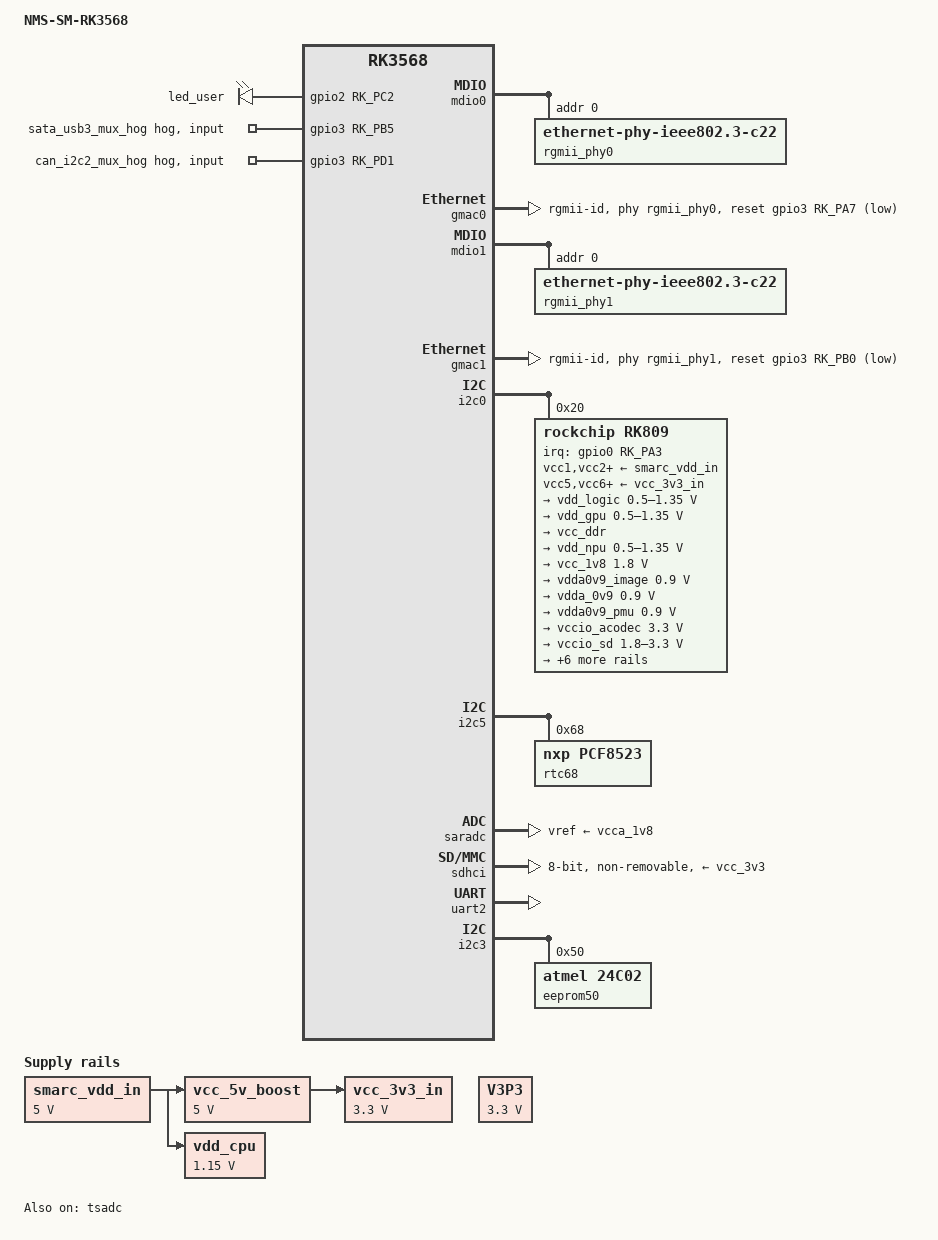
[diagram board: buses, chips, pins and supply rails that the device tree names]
// SPDX-License-Identifier: (GPL-2.0+ OR MIT)

/dts-v1/;
#include <dt-bindings/gpio/gpio.h>
#include <dt-bindings/leds/common.h>
#include <dt-bindings/pinctrl/rockchip.h>
#include <dt-bindings/soc/rockchip,vop2.h>
#include "rk3568.dtsi"
//#include "rockchip/rk3568.dtsi"

/ {
	model = "NMS-SM-RK3568";
	compatible = "inmys,rk3568-smarc-som_v2", "inmys,rk3568-smarc-som", "rockchip,rk3568";

	aliases {
		ethernet0 = &gmac0; /*SMARC: GBE0*/
		ethernet1 = &gmac1; /*SMARC: GBE1*/
		mmc0 = &sdhci; /*emmc*/
		mmc1 = &sdmmc0; /*sdcard*/
		rtc0 = &rtc68;
		rtc1 = &rk809;
		can0 = &can0; /*SMARC: can0*/
		can1 = &can2; /*SMARC: can1*/
	};

	chosen: chosen {
		stdout-path = "serial2:1500000n8";
	};

	leds {
		compatible = "gpio-leds";

		led_user: led_user {
			gpios = <&gpio2 RK_PC2 GPIO_ACTIVE_HIGH>;
			linux,default-trigger = "heartbeat";
		};
		
	};

	smarc_vdd_in: smarc-vdd-in {
		/* 3.0...5.25V main power input for som(from mother board) */
		compatible = "regulator-fixed";
		regulator-name = "SMARC_VDD_IN";
		regulator-always-on;
		regulator-boot-on;
		regulator-min-microvolt = <5000000>;
		regulator-max-microvolt = <5000000>;
	};
	V3P3: SMARC_CARRIER_PWR_ON {
		/* enable 3v3 main power on mother board, by pmic pin "EXT_EN" */
		/* CARRIER_PWR_ON->S154->CARRIER_PWR_ON */
		compatible = "regulator-fixed";
		regulator-name = "SMARC_CARRIER_PWR_ON";
		regulator-min-microvolt = <3300000>;
		regulator-max-microvolt = <3300000>;
		regulator-boot-on;
	};
	vcc_5v_boost: vcc-5v-boost {
		/* boost from SMARC VDD_IN( 3.0V ... 5.25V) to 5V */
		/* variants: 0R or FAN48623UC50X */
		compatible = "regulator-fixed";
		regulator-name = "VCC_5V_BOOST";
		regulator-always-on;
		regulator-boot-on;
		regulator-min-microvolt = <5000000>;
		regulator-max-microvolt = <5000000>;
		vin-supply = <&smarc_vdd_in>;
	};
	vcc_3v3_in: vcc-3v3-in {
		/* 3v3 input for pmic (for LDOs)*/
		/* NCP1597BMNTWG (5V->3v3) on som*/
		compatible = "regulator-fixed";
		regulator-name = "VCC_3V3_IN";
		regulator-always-on;
		regulator-boot-on;
		regulator-min-microvolt = <3300000>;
		regulator-max-microvolt = <3300000>;
		vin-supply = <&vcc_5v_boost>;
	};

	vdd_cpu: vdd-cpu {
		/* FAN53200UC35X */
		vin-supply = <&smarc_vdd_in>;
		compatible = "regulator-fixed";
		regulator-name = "vdd_cpu";
		regulator-min-microvolt = <1150000>;
		regulator-max-microvolt = <1150000>;
		regulator-boot-on;
		regulator-always-on;
	};
	
};

&cpu0 {
	cpu-supply = <&vdd_cpu>;
};

&cpu1 {
	cpu-supply = <&vdd_cpu>;
};

&cpu2 {
	cpu-supply = <&vdd_cpu>;
};

&cpu3 {
	cpu-supply = <&vdd_cpu>;
};


&mdio0 {
	rgmii_phy0: phy@0 {
		compatible = "ethernet-phy-ieee802.3-c22";
		reg = <0x0>;
	};
};

&gmac0 {
	phy-mode = "rgmii-id";

	snps,reset-gpio = <&gpio3 RK_PA7 GPIO_ACTIVE_LOW>;
	snps,reset-active-low;
	/* Reset time is 20ms, 100ms for rtl8211f */
	snps,reset-delays-us = <0 20000 100000>;

	clock_in_out = "output";
	assigned-clocks = <&cru SCLK_GMAC0_RX_TX>, <&cru SCLK_GMAC0>;
	assigned-clock-parents = <&cru SCLK_GMAC0_RGMII_SPEED>, <&cru CLK_MAC0_2TOP>;
	assigned-clock-rates = <0>, <125000000>;
	pinctrl-names = "default";
	pinctrl-0 = <&gmac0_miim
		&gmac0_tx_bus2
		&gmac0_rx_bus2
		&gmac0_rgmii_clk
		&gmac0_rgmii_bus>;

	tx_delay = <0x3c>;
	rx_delay = <0x2f>;

	phy-handle = <&rgmii_phy0>;
};

	
&mdio1 {
	rgmii_phy1: ethernet-phy@0 {
		compatible = "ethernet-phy-ieee802.3-c22";
		reg = <0x0>;
#if 0
		reset-assert-us = <20000>;
		reset-deassert-us = <100000>;
		reset-gpios = <&gpio3 RK_PB0 GPIO_ACTIVE_LOW>;
#endif
	};
};

&gmac1 {
	phy-mode = "rgmii-id";
	
	snps,reset-gpio = <&gpio3 RK_PB0 GPIO_ACTIVE_LOW>;
	snps,reset-active-low;
	/* Reset time is 20ms, 100ms for rtl8211f */
	snps,reset-delays-us = <0 20000 100000>;

	clock_in_out = "output";
	assigned-clocks = <&cru SCLK_GMAC1_RX_TX>, <&cru SCLK_GMAC1>;
	assigned-clock-parents = <&cru SCLK_GMAC1_RGMII_SPEED>, <&cru CLK_MAC1_2TOP>;
	assigned-clock-rates = <0>, <125000000>;
	pinctrl-names = "default";
	pinctrl-0 = <&gmac1m1_miim
		&gmac1m1_tx_bus2
		&gmac1m1_rx_bus2
		&gmac1m1_rgmii_clk
		&gmac1m1_rgmii_bus>;
	
	tx_delay = <0x4f>;
	rx_delay = <0x26>;
	
	phy-handle = <&rgmii_phy1>;
};

&gpu {
	mali-supply = <&vdd_gpu>;
};

&hdmi {
	avdd-0v9-supply = <&vdda0v9_image>;
	avdd-1v8-supply = <&vcca1v8_image>;
	pinctrl-0 = <&hdmitx_scl &hdmitx_sda>; // no HDMI CEC pin on SMARC connector (&hdmitxm0_cec)
};

&i2c0 {
	status = "okay";
#if 0
	vdd_cpu: regulator@1c {
		compatible = "tcs,tcs4525";
		reg = <0x1c>;
		fcs,suspend-voltage-selector = <1>;
		regulator-name = "vdd_cpu";
		regulator-always-on;
		regulator-boot-on;
		regulator-min-microvolt = <800000>;
		regulator-max-microvolt = <1150000>;
		regulator-ramp-delay = <2300>;
		vin-supply = <&vcc5v0_sys>;

		regulator-state-mem {
			regulator-off-in-suspend;
		};
	};
#endif

	rk809: pmic@20 {
		compatible = "rockchip,rk809";
		reg = <0x20>;
		interrupt-parent = <&gpio0>;
		interrupts = <RK_PA3 IRQ_TYPE_LEVEL_LOW>;
		assigned-clocks = <&cru I2S1_MCLKOUT_TX>;
		assigned-clock-parents = <&cru CLK_I2S1_8CH_TX>;
		#clock-cells = <1>;
		clock-names = "mclk";
		clocks = <&cru I2S1_MCLKOUT_TX>;
		pinctrl-names = "default";
		pinctrl-0 = <&pmic_int &i2s1m0_mclk>;
		rockchip,system-power-controller;
		#sound-dai-cells = <0>;
		vcc1-supply = <&smarc_vdd_in>;
		vcc2-supply = <&smarc_vdd_in>;
		vcc3-supply = <&smarc_vdd_in>;
		vcc4-supply = <&smarc_vdd_in>;
		vcc5-supply = <&vcc_3v3_in>;
		vcc6-supply = <&vcc_3v3_in>;
		vcc7-supply = <&vcc_3v3_in>;
		vcc8-supply = <&vcc_3v3_in>;
		vcc9-supply = <&vcc_3v3_in>;
		wakeup-source;

		regulators {
			vdd_logic: DCDC_REG1 {
				regulator-name = "vdd_logic";
				regulator-always-on;
				regulator-boot-on;
				regulator-init-microvolt = <900000>;
				regulator-initial-mode = <0x2>;
				regulator-min-microvolt = <500000>;
				regulator-max-microvolt = <1350000>;
				regulator-ramp-delay = <6001>;

				regulator-state-mem {
					regulator-off-in-suspend;
				};
			};

			vdd_gpu: DCDC_REG2 {
				regulator-name = "vdd_gpu";
				regulator-always-on;
				regulator-init-microvolt = <900000>;
				regulator-initial-mode = <0x2>;
				regulator-min-microvolt = <500000>;
				regulator-max-microvolt = <1350000>;
				regulator-ramp-delay = <6001>;

				regulator-state-mem {
					regulator-off-in-suspend;
				};
			};

			vcc_ddr: DCDC_REG3 {
				regulator-name = "vcc_ddr";
				regulator-always-on;
				regulator-boot-on;
				regulator-initial-mode = <0x2>;

				regulator-state-mem {
					regulator-on-in-suspend;
				};
			};

			vdd_npu: DCDC_REG4 {
				regulator-name = "vdd_npu";
				regulator-init-microvolt = <900000>;
				regulator-initial-mode = <0x2>;
				regulator-min-microvolt = <500000>;
				regulator-max-microvolt = <1350000>;
				regulator-ramp-delay = <6001>;

				regulator-state-mem {
					regulator-off-in-suspend;
				};
			};

			vcc_1v8: DCDC_REG5 {
				regulator-name = "vcc_1v8";
				regulator-always-on;
				regulator-boot-on;
				regulator-min-microvolt = <1800000>;
				regulator-max-microvolt = <1800000>;

				regulator-state-mem {
					regulator-on-in-suspend;
				};
			};

			vdda0v9_image: LDO_REG1 {
				regulator-name = "vdda0v9_image";
				regulator-min-microvolt = <900000>;
				regulator-max-microvolt = <900000>;

				regulator-state-mem {
					regulator-off-in-suspend;
				};
			};

			vdda_0v9: LDO_REG2 {
				regulator-name = "vdda_0v9";
				regulator-always-on;
				regulator-boot-on;
				regulator-min-microvolt = <900000>;
				regulator-max-microvolt = <900000>;

				regulator-state-mem {
					regulator-off-in-suspend;
				};
			};

			vdda0v9_pmu: LDO_REG3 {
				regulator-name = "vdda0v9_pmu";
				regulator-always-on;
				regulator-boot-on;
				regulator-min-microvolt = <900000>;
				regulator-max-microvolt = <900000>;

				regulator-state-mem {
					regulator-on-in-suspend;
					regulator-suspend-microvolt = <900000>;
				};
			};

			vccio_acodec: LDO_REG4 {
				regulator-name = "vccio_acodec";
				regulator-always-on;
				regulator-min-microvolt = <3300000>;
				regulator-max-microvolt = <3300000>;

				regulator-state-mem {
					regulator-off-in-suspend;
				};
			};

			vccio_sd: LDO_REG5 {
				regulator-name = "vccio_sd";
				regulator-min-microvolt = <1800000>;
				regulator-max-microvolt = <3300000>;

				regulator-state-mem {
					regulator-off-in-suspend;
				};
			};

			vcc3v3_pmu: LDO_REG6 {
				regulator-name = "vcc3v3_pmu";
				regulator-always-on;
				regulator-boot-on;
				regulator-min-microvolt = <3300000>;
				regulator-max-microvolt = <3300000>;

				regulator-state-mem {
					regulator-on-in-suspend;
					regulator-suspend-microvolt = <3300000>;
				};
			};

			vcca_1v8: LDO_REG7 {
				regulator-name = "vcca_1v8";
				regulator-always-on;
				regulator-boot-on;
				regulator-min-microvolt = <1800000>;
				regulator-max-microvolt = <1800000>;

				regulator-state-mem {
					regulator-off-in-suspend;
				};
			};

			vcca1v8_pmu: LDO_REG8 {
				regulator-name = "vcca1v8_pmu";
				regulator-always-on;
				regulator-boot-on;
				regulator-min-microvolt = <1800000>;
				regulator-max-microvolt = <1800000>;

				regulator-state-mem {
					regulator-on-in-suspend;
					regulator-suspend-microvolt = <1800000>;
				};
			};

			vcca1v8_image: LDO_REG9 {
				regulator-name = "vcca1v8_image";
				regulator-min-microvolt = <1800000>;
				regulator-max-microvolt = <1800000>;

				regulator-state-mem {
					regulator-off-in-suspend;
				};
			};

			vcc_3v3: SWITCH_REG1 {
				regulator-name = "vcc_3v3";
				regulator-always-on;
				regulator-boot-on;

				regulator-state-mem {
					regulator-off-in-suspend;
				};
			};

			vcc3v3_sd: SWITCH_REG2 {
				regulator-name = "vcc3v3_sd";

				regulator-state-mem {
					regulator-off-in-suspend;
				};
			};
		};

		codec {
			mic-in-differential;
		};
	};
};

&i2c5 {
	status = "okay";

	rtc68: pcf8523@68 {
		compatible = "nxp,pcf8523";
		reg = <0x68>;
		quartz-load-femtofarads = <12500>;
		/*rtcint GPIO0_D3*/
	};
};


&i2s1_8ch { /* SMARC pins: S39 - S52*/
	pinctrl-names = "default";
	pinctrl-0 = <&i2s1m0_sclktx &i2s1m0_lrcktx &i2s1m0_sdi0 &i2s1m0_sdo0>;
	rockchip,trcm-sync-tx-only;
	status = "disabled";
};

&pcie2x1 {
	reset-gpios = <&gpio3 RK_PC1 GPIO_ACTIVE_HIGH>;
	vpcie3v3-supply = <&V3P3>;
	status = "disabled";
};


&pcie30phy {
	status = "disabled";
};

&pcie3x2 {
	reset-gpios = <&gpio3 RK_PA1 GPIO_ACTIVE_HIGH>;
	vpcie3v3-supply = <&V3P3>;
	status = "disabled";
};


&pinctrl {
	pmic {
		pmic_int: pmic_int {
			rockchip,pins =
				<0 RK_PA3 RK_FUNC_GPIO &pcfg_pull_up>;
		};
	};
};

&pmu_io_domains {
	pmuio1-supply = <&vcc3v3_pmu>;
	pmuio2-supply = <&vcc_1v8>;
	vccio1-supply = <&vcc_1v8>;
	vccio2-supply = <&vcc_1v8>;
	vccio3-supply = <&vccio_sd>;
	vccio4-supply = <&vcc_1v8>;
	vccio5-supply = <&vcc_3v3>;
	vccio6-supply = <&vcc_1v8>;
	vccio7-supply = <&vcc_1v8>;
	status = "okay";
};

&saradc {
	vref-supply = <&vcca_1v8>;
	status = "okay";
};

/*emmc on som*/
&sdhci {
	bus-width = <8>;
	max-frequency = <160000000>;
	non-removable;
	pinctrl-names = "default";
	pinctrl-0 = <&emmc_bus8 &emmc_clk &emmc_cmd &emmc_datastrobe>;
	vmmc-supply = <&vcc_3v3>;
	vqmmc-supply = <&vcc_1v8>;
	status = "okay";
};

/* has no sdcard in device, but has in evm board: rm? */
&sdmmc0 {
	bus-width = <4>;
	cap-sd-highspeed;
	cd-gpios = <&gpio0 RK_PA4 GPIO_ACTIVE_LOW>;
	disable-wp;
	pinctrl-names = "default";
	pinctrl-0 = <&sdmmc0_bus4 &sdmmc0_clk &sdmmc0_cmd &sdmmc0_det>;
	sd-uhs-sdr50;
	vmmc-supply = <&vcc3v3_sd>;
	vqmmc-supply = <&vccio_sd>;
	status = "disabled";
};

&tsadc {
	rockchip,hw-tshut-mode = <1>;
	rockchip,hw-tshut-polarity = <0>;
	status = "okay";
};

/* SMARC: SER1 (console) */
&uart2 {
	status = "okay";
};

&vop {
	assigned-clocks = <&cru DCLK_VOP0>, <&cru DCLK_VOP1>;
	assigned-clock-parents = <&pmucru PLL_HPLL>, <&cru PLL_VPLL>;
	status = "disabled";
};

&vop_mmu {
	status = "disabled";
};

/* SMARC: SATA1 */
&sata1 {
	/* enable sata1_actled */
	pinctrl-names = "default";
	pinctrl-0 = <&sata1_pins>;
};

/* SMARC: I2C_GP*/
&i2c3 {
	pinctrl-0 = <&i2c3m0_xfer>;
	status = "okay";
	eeprom50: eeprom@50 {
		compatible = "atmel,24c02";
		reg = <0x50>;
	};
};

/* SMARC: I2C_CAM0*/
&i2c4 {
	pinctrl-0 = <&i2c4m0_xfer>;
};

/* SMARC: SER2 */
&uart4 {
	pinctrl-names = "default";
	pinctrl-0 = <&uart4m1_xfer>;
};

/* SMARC: SER3 */
&uart5 {
	pinctrl-names = "default";
	pinctrl-0 = <&uart5m1_xfer>;
};

/* SMARC: SER0 */
&uart8 {
	pinctrl-names = "default";
	pinctrl-0 = <&uart8m0_xfer &uart8m0_ctsn &uart8m0_rtsn>;
};

&spi0 {
	pinctrl-0 = <&spi0m0_cs0 &spi0m0_pins>;
	pinctrl-0 = <&spi0m0_cs0_hs &spi0m0_pins_hs>;
};

&gpio0 {
	gpio-line-names =
		"GPIO0_A0","GPIO0_A1","GPIO0_A2","GPIO0_A3","GPIO0_A4","GPIO0_A5","GPIO0_A6","GPIO0_A7",
		"GPIO0_B0","GPIO0_B1","GPIO0_B2","GPIO0_B3","GPIO0_B4","GPIO0_B5","GPIO0_B6","GPIO0_B7",
		"GPIO0_C0","GPIO0_C1","GPIO0_C2","GPIO0_C3","GPIO0_C4","GPIO0_C5","GPIO0_C6","GPIO0_C7",
		"GPIO0_D0","GPIO0_D1","GPIO0_D2","GPIO0_D3","GPIO0_D4","GPIO0_D5","GPIO0_D6","GPIO0_D7";
};

&gpio1 {
	gpio-line-names =
		"GPIO1_A0","GPIO1_A1","GPIO1_A2","GPIO1_A3","GPIO1_A4","GPIO1_A5","GPIO1_A6","GPIO1_A7",
		"GPIO1_B0","GPIO1_B1","GPIO1_B2","GPIO1_B3","GPIO1_B4","GPIO1_B5","GPIO1_B6","GPIO1_B7",
		"GPIO1_C0","GPIO1_C1","GPIO1_C2","GPIO1_C3","GPIO1_C4","GPIO1_C5","GPIO1_C6","GPIO1_C7",
		"GPIO1_D0","GPIO1_D1","SMARC_GPIO10","GPIO1_D3","SMARC_GPIO11","GPIO1_D5","GPIO1_D6","GPIO1_D7"; // GPIO10 GPIO11 only on som version v2!
};

&gpio2 {
	gpio-line-names =
		"GPIO2_A0","GPIO2_A1","GPIO2_A2","GPIO2_A3","GPIO2_A4","GPIO2_A5","GPIO2_A6","GPIO2_A7",
		"GPIO2_B0","GPIO2_B1","GPIO2_B2","GPIO2_B3","GPIO2_B4","GPIO2_B5","GPIO2_B6","GPIO2_B7",
		"GPIO2_C0","GPIO2_C1","GPIO2_C2","GPIO2_C3","GPIO2_C4","GPIO2_C5","GPIO2_C6","GPIO2_C7",
		"GPIO2_D0","GPIO2_D1","GPIO2_D2","GPIO2_D3","GPIO2_D4","GPIO2_D5","GPIO2_D6","GPIO2_D7";
};

&gpio3 {
	gpio-line-names =
		"GPIO3_A0","GPIO3_A1","GPIO3_A2","GPIO3_A3","GPIO3_A4","GPIO3_A5","GPIO3_A6","GPIO3_A7",
		"GPIO3_B0","GPIO3_B1","GPIO3_B2","GPIO3_B3","GPIO3_B4","GPIO3_B5","GPIO3_B6","GPIO3_B7",
		"GPIO3_C0","GPIO3_C1","GPIO3_C2","GPIO3_C3","GPIO3_C4","GPIO3_C5","GPIO3_C6","GPIO3_C7",
		"GPIO3_D0","GPIO3_D1", "SMARC_GPIO3",  "SMARC_GPIO1",  "SMARC_GPIO2",  "SMARC_GPIO0","GPIO3_D6","GPIO3_D7";
};

&gpio4 {
	gpio-line-names =
		"GPIO4_A0","GPIO4_A1","GPIO4_A2","GPIO4_A3","GPIO4_A4","GPIO4_A5","GPIO4_A6","GPIO4_A7",
		"GPIO4_B0","GPIO4_B1","GPIO4_B2","GPIO4_B3","GPIO4_B4","GPIO4_B5","GPIO4_B6","GPIO4_B7",
		"GPIO4_C0","GPIO4_C1","GPIO4_C2","GPIO4_C3","GPIO4_C4","GPIO4_C5","GPIO4_C6","GPIO4_C7",
		"GPIO4_D0","GPIO4_D1","GPIO4_D2","GPIO4_D3","GPIO4_D4","GPIO4_D5","GPIO4_D6","GPIO4_D7";
};


&gpio3 {

	/* muxes on SOM module */

	/* rockcip combphy1(multi_phy1) work or in sata mode or in USB3 SS mode */
	/* gpio ctrl on SMARC module: mux combphy1 or to "SMARC SATA1" or to "SMARC USB3_HOST1_SS" */
	/* SATA(SMARC SATA1): SMARC pins: P48,P49,P51,P52 */
	/* USB3(SMARC USB3_HOST1_SS) SMARC pins: S71,S72,S74,S75 */
	sata_usb3_mux_hog: sata_usb3_mux_hog {
		gpio-hog;
		gpios = <RK_PB5 GPIO_ACTIVE_HIGH>;
		/* output-low; */ /* SMARC SATA1 */
		/* output-high; */ /* SMARC USB3_HOST1_SS */
	};

	/* gpio ctrl on SMARC module: select SMARC pins S139/S140 func: CAN or I2C */
	/* on SMARC pins  S139/S140: or CAN(SMARC CAN1) or i2c (I2C_LCD) */
	can_i2c2_mux_hog: can_i2c2_mux_hog {
		gpio-hog;
		gpios = <RK_PD1 GPIO_ACTIVE_HIGH>;
		/* output-low; */ /* CAN */
		/* output-high; */ /* i2c */
	};
};



/*2023.06.12: no CAN in mainline kernel now*/
/ {
	can0: can@fe570000 {
		compatible = "rockchip,canfd-1.0";
		reg = <0x0 0xfe570000 0x0 0x1000>;
		interrupts = <GIC_SPI 1 IRQ_TYPE_LEVEL_HIGH>;
		clocks = <&cru CLK_CAN0>, <&cru PCLK_CAN0>;
		clock-names = "baudclk", "apb_pclk";
		resets = <&cru SRST_CAN0>, <&cru SRST_P_CAN0>;
		reset-names = "can", "can-apb";
		tx-fifo-depth = <1>;
		rx-fifo-depth = <6>;
		status = "disabled";

		pinctrl-names = "default";
		pinctrl-0 = <&can0m0_pins>;
	};

	can2: can@fe590000 {
		compatible = "rockchip,canfd-1.0";
		reg = <0x0 0xfe590000 0x0 0x1000>;
		interrupts = <GIC_SPI 3 IRQ_TYPE_LEVEL_HIGH>;
		clocks = <&cru CLK_CAN2>, <&cru PCLK_CAN2>;
		clock-names = "baudclk", "apb_pclk";
		resets = <&cru SRST_CAN2>, <&cru SRST_P_CAN2>;
		reset-names = "can", "can-apb";
		tx-fifo-depth = <1>;
		rx-fifo-depth = <6>;
		status = "disabled";

		pinctrl-names = "default";
		pinctrl-0 = <&can2m0_pins>;
	};
};


